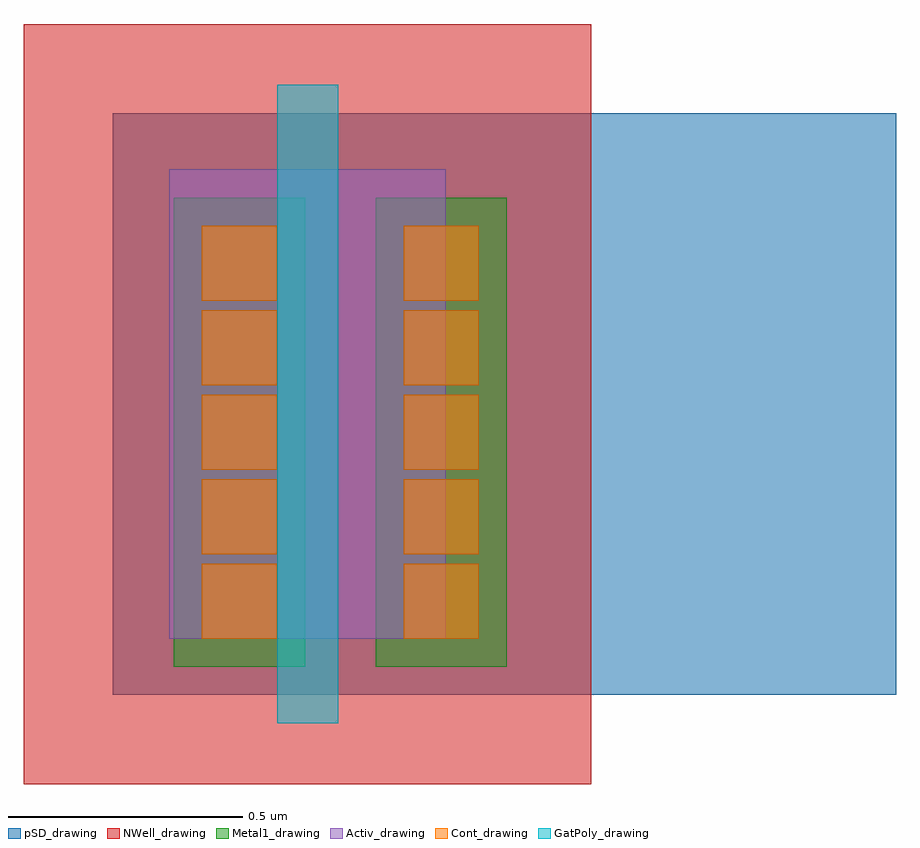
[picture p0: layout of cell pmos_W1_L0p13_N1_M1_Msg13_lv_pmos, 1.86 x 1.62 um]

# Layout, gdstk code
import gdstk
lib = gdstk.Library(unit=1e-6, precision=1e-09)
def R(c, l, rs):  # rectangles x0, y0, x1, y1
    for r in rs: c.add(gdstk.rectangle(r[:2], r[2:], *l))
Activ_drawing = (1, 0)
GatPoly_drawing = (5, 0)
Cont_drawing = (6, 0)
Metal1_drawing = (8, 0)
pSD_drawing = (14, 0)
NWell_drawing = (31, 0)

rectangle_gdsfactorypcom = lib.new_cell('rectangle_gdsfactorypcomponentspshapesprectangle_S1p21__b043f737')
R(rectangle_gdsfactorypcom, NWell_drawing, [(0,0,1.21,1.62)])

c_rectangle_gdsfactorypcom = lib.new_cell('rectangle_gdsfactorypcomponentspshapesprectangle_S0p13__357758a5')
R(c_rectangle_gdsfactorypcom, GatPoly_drawing, [(0,0,0.13,1.36)])

c_rectangle_gdsfactorypcom_ = lib.new_cell('rectangle_gdsfactorypcomponentspshapesprectangle_S0p590_18c225c2')
R(c_rectangle_gdsfactorypcom_, Activ_drawing, [(0,0,0.59,1)])

c_rectangle_gdsfactorypcom__ = lib.new_cell('rectangle_gdsfactorypcomponentspshapesprectangle_S0p16__69e6ae0d')
R(c_rectangle_gdsfactorypcom__, Cont_drawing, [(0,0,0.16,0.16)])

c_rectangle_gdsfactorypcom___ = lib.new_cell('rectangle_gdsfactorypcomponentspshapesprectangle_S0p28__9ef741b7')
R(c_rectangle_gdsfactorypcom___, Metal1_drawing, [(0,0,0.28,0.28)])

c_rectangle_gdsfactorypcom____ = lib.new_cell('rectangle_gdsfactorypcomponentspshapesprectangle_S1p67__d32beeaa')
R(c_rectangle_gdsfactorypcom____, pSD_drawing, [(0,0,1.67,1.24)])

pmos_w1_l0p13_n1_m1_msg1 = lib.new_cell('pmos_W1_L0p13_N1_M1_Msg13_lv_pmos')
pmos_w1_l0p13_n1_m1_msg1.add(gdstk.Reference(rectangle_gdsfactorypcom, (-0.54,-0.13)))
pmos_w1_l0p13_n1_m1_msg1.add(gdstk.Reference(c_rectangle_gdsfactorypcom, (0,0)))
pmos_w1_l0p13_n1_m1_msg1.add(gdstk.Reference(c_rectangle_gdsfactorypcom_, (-0.23,0.18)))
pmos_w1_l0p13_n1_m1_msg1.add(gdstk.Reference(c_rectangle_gdsfactorypcom__, (-0.16,0.18)))
pmos_w1_l0p13_n1_m1_msg1.add(gdstk.Reference(c_rectangle_gdsfactorypcom___, (-0.22,0.12)))
pmos_w1_l0p13_n1_m1_msg1.add(gdstk.Reference(c_rectangle_gdsfactorypcom__, (-0.16,0.36)))
pmos_w1_l0p13_n1_m1_msg1.add(gdstk.Reference(c_rectangle_gdsfactorypcom___, (-0.22,0.3)))
pmos_w1_l0p13_n1_m1_msg1.add(gdstk.Reference(c_rectangle_gdsfactorypcom__, (-0.16,0.54)))
pmos_w1_l0p13_n1_m1_msg1.add(gdstk.Reference(c_rectangle_gdsfactorypcom___, (-0.22,0.48)))
pmos_w1_l0p13_n1_m1_msg1.add(gdstk.Reference(c_rectangle_gdsfactorypcom__, (-0.16,0.72)))
pmos_w1_l0p13_n1_m1_msg1.add(gdstk.Reference(c_rectangle_gdsfactorypcom___, (-0.22,0.66)))
pmos_w1_l0p13_n1_m1_msg1.add(gdstk.Reference(c_rectangle_gdsfactorypcom__, (-0.16,0.9)))
pmos_w1_l0p13_n1_m1_msg1.add(gdstk.Reference(c_rectangle_gdsfactorypcom___, (-0.22,0.84)))
pmos_w1_l0p13_n1_m1_msg1.add(gdstk.Reference(c_rectangle_gdsfactorypcom__, (0.27,0.18)))
pmos_w1_l0p13_n1_m1_msg1.add(gdstk.Reference(c_rectangle_gdsfactorypcom___, (0.21,0.12)))
pmos_w1_l0p13_n1_m1_msg1.add(gdstk.Reference(c_rectangle_gdsfactorypcom__, (0.27,0.36)))
pmos_w1_l0p13_n1_m1_msg1.add(gdstk.Reference(c_rectangle_gdsfactorypcom___, (0.21,0.3)))
pmos_w1_l0p13_n1_m1_msg1.add(gdstk.Reference(c_rectangle_gdsfactorypcom__, (0.27,0.54)))
pmos_w1_l0p13_n1_m1_msg1.add(gdstk.Reference(c_rectangle_gdsfactorypcom___, (0.21,0.48)))
pmos_w1_l0p13_n1_m1_msg1.add(gdstk.Reference(c_rectangle_gdsfactorypcom__, (0.27,0.72)))
pmos_w1_l0p13_n1_m1_msg1.add(gdstk.Reference(c_rectangle_gdsfactorypcom___, (0.21,0.66)))
pmos_w1_l0p13_n1_m1_msg1.add(gdstk.Reference(c_rectangle_gdsfactorypcom__, (0.27,0.9)))
pmos_w1_l0p13_n1_m1_msg1.add(gdstk.Reference(c_rectangle_gdsfactorypcom___, (0.21,0.84)))
pmos_w1_l0p13_n1_m1_msg1.add(gdstk.Reference(c_rectangle_gdsfactorypcom____, (-0.35,0.06)))

lib.write_gds('pmos_W1_L0p13_N1_M1_Msg13_lv_pmos.gds')
